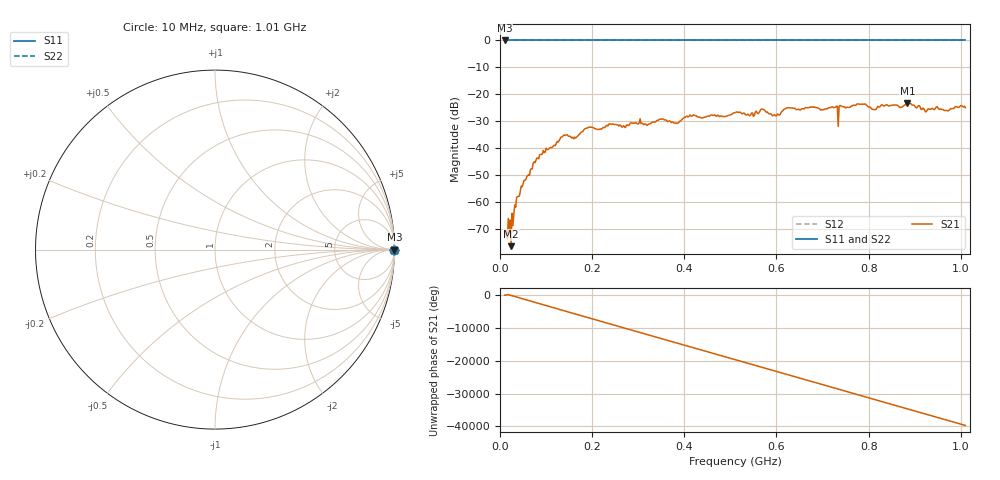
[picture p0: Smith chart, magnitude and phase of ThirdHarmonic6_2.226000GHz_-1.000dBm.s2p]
! 8/17/2025 2:30:02 AM
! C:\ANRITSUVNA\TEMP\TEMP.S2P
! CHANNEL.1
! TR.MEASUREMENT
! RAW.DATA
! RF.CORRECTION.OFF
! AVERAGING.OFF
! IF.BANDWIDTH: 5KHZ
! SWEEPTYPE:  FREQ.SWEEP(Linear)
! Reference Plane Port Info
! PORT:  PORT1  PORT2
! DISTANCE:  0  m  0  m
! TIME:  0  s  0  s
! PHASE.OFFSET:  0  deg.  0  deg.
! LOSS:  0  dB  0  dB
! REF.LOSS:  0  dB  0  dB
! REF.FREQ:  0  Hz  0  Hz
! Power Info
! POWER:  -20  dBm  -20  dBm
! EFF.POWER:  -20  dBm  -20  dBm
! SOURCE.ATTEN:  0  dB  0  dB
! TEST.ATTEN:  0  dB  0  dB
# GHZ S RI R 50.0
! FREQ.GHZ  S11RE  S11IM  S21RE  S21IM  S12RE  S12IM  S22RE  S22IM
!; PortSelection: Port_12
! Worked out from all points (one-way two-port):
!   501 points, 10 MHz to 1.01 GHz, reference 50 ohm
!   highest |S21| = -23.40 dB at 884 MHz (marker M1); lowest = -76.5 dB at 24 MHz (marker M2)
!   lowest |S11| = 0.0 dB at 10 MHz (marker M3)
!   |S11| at or under -10 dB: nowhere
!   |S22| runs from 0.0 to 0.0 dB; largest |S21 - S12| = 1.1
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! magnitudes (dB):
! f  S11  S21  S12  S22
! 10 MHz  0.0  -71.2  0.0  0.0
! 24 MHz  0.0  -76.5  0.0  0.0
! 36 MHz  0.0  -58.4  0.0  0.0
! 76 MHz  0.0  -45.5  0.0  0.0
! 136 MHz  0.0  -35.7  0.0  0.0
! 164 MHz  0.0  -36.3  0.0  0.0
! 178 MHz  0.0  -34.0  0.0  0.0
! 344 MHz  0.0  -29.6  0.0  0.0
! 382 MHz  0.0  -30.7  0.0  0.0
! 416 MHz  0.0  -28.2  0.0  0.0
! 510 MHz  0.0  -26.9  0.0  0.0
! 570 MHz  0.0  -25.5  0.0  0.0
! 596 MHz  0.0  -27.6  0.0  0.0
! 624 MHz  0.0  -25.0  0.0  0.0
! 678 MHz  0.0  -24.8  0.0  0.0
! 730 MHz  0.0  -24.5  0.0  0.0
! 778 MHz  0.0  -23.6  0.0  0.0
! 812 MHz  0.0  -25.7  0.0  0.0
! 844 MHz  0.0  -24.4  0.0  0.0
! 884 MHz  0.0  -23.4  0.0  0.0
! 924 MHz  0.0  -26.6  0.0  0.0
! 1.01 GHz  0.0  -25.0  0.0  0.0
